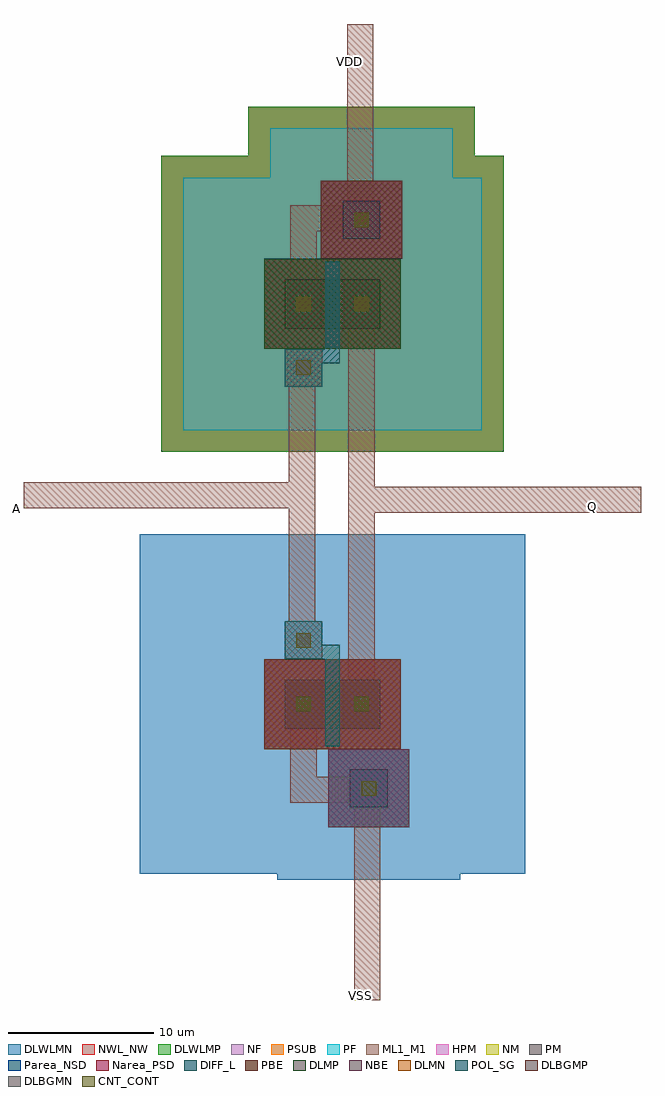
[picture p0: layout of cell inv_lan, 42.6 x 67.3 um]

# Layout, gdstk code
import gdstk
lib = gdstk.Library(unit=1e-6, precision=1e-07)
def R(c, l, rs):  # rectangles x0, y0, x1, y1
    for r in rs: c.add(gdstk.rectangle(r[:2], r[2:], *l))
def P(c, l, *ps):  # polygons
    for p in ps: c.add(gdstk.Polygon(p, *l))
DIFF_L = (3, 0)
NM = (7, 0)
POL_SG = (8, 0)
Narea_PSD = (9, 0)
CNT_CONT = (11, 0)
ML1_M1 = (13, 0)
NF = (25, 0)
PF = (26, 0)
Parea_NSD = (28, 0)
HPM = (33, 0)
PM = (35, 0)
NWL_NW = (36, 0)
PSUB = (140, 0)
PBE = (146, 0)
NBE = (147, 0)
DLWLMP = (150, 0)
DLWLMN = (151, 0)
DLMP = (157, 0)
DLMN = (158, 0)
DLBGMP = (177, 0)
DLBGMN = (178, 0)

dcont = lib.new_cell('dcont')
R(dcont, DIFF_L, [(-1.3,-1.3,1.3,1.3)])
R(dcont, CNT_CONT, [(-0.5,-0.5,0.5,0.5)])
R(dcont, ML1_M1, [(-1.3,-1.3,1.3,1.3), (-0.5,-0.5,0.5,0.5)])

pcont = lib.new_cell('pcont')
R(pcont, POL_SG, [(-1.3,-1.3,1.3,1.3)])
R(pcont, CNT_CONT, [(-0.5,-0.5,0.5,0.5)])
R(pcont, ML1_M1, [(-1.3,-1.3,1.3,1.3), (-0.5,-0.5,0.5,0.5)])

c_dcont = lib.new_cell('DCONT')
R(c_dcont, DIFF_L, [(-1.3,-1.3,1.3,1.3)])
R(c_dcont, CNT_CONT, [(-0.5,-0.5,0.5,0.5)])
R(c_dcont, ML1_M1, [(-1.3,-1.3,1.3,1.3), (-0.5,-0.5,0.5,0.5)])

nsubcont = lib.new_cell('nsubcont')
R(nsubcont, NM, [(-2.8,-2.7,2.8,2.7)])
R(nsubcont, Narea_PSD, [(-2.8,-2.7,2.8,2.7)])
R(nsubcont, NF, [(-6.3,-6.3,6.3,6.3)])
R(nsubcont, PF, [(-6.3,-6.3,6.3,6.3)])
R(nsubcont, HPM, [(-2.8,-2.7,2.8,2.7)])
R(nsubcont, PM, [(-2.8,-2.7,2.8,2.7)])
R(nsubcont, NWL_NW, [(-7.8,-7.8,7.8,7.8)])
R(nsubcont, PSUB, [(-6.3,-6.3,6.3,6.3)])
R(nsubcont, DLWLMP, [(-7.8,-7.8,7.8,7.8)])
R(nsubcont, DLBGMP, [(-2.8,-2.7,2.8,2.7)])
nsubcont.add(gdstk.Reference(c_dcont, (0,0)))

mp_1 = lib.new_cell('MP$1')
R(mp_1, DIFF_L, [(0,3.6,6.6,7)])
R(mp_1, NM, [(-1.4,2.2,8,8.4)])
R(mp_1, NF, [(-7,-3.4,13.6,14)])
R(mp_1, PF, [(-7,-3.4,13.6,14)])
R(mp_1, Parea_NSD, [(-1.4,2.2,8,8.4)])
R(mp_1, HPM, [(-1.4,2.2,8,8.4)])
R(mp_1, NWL_NW, [(-8.5,-4.9,15.1,15.5)])
R(mp_1, PSUB, [(-7,-3.4,13.6,14)])
R(mp_1, PBE, [(-1.4,2.2,8,8.4)])
R(mp_1, DLWLMP, [(-8.5,-4.9,15.1,15.5)])
R(mp_1, DLMP, [(-1.4,2.2,8,8.4)])
mp_1.add(gdstk.FlexPath([(1.3,3.6),(1.3,7)], 2.6, ends="flush", simple_path=True, layer=13, datatype=0))  # ML1_M1
mp_1.add(gdstk.FlexPath([(5.3,3.6),(5.3,7)], 2.6, ends="flush", simple_path=True, layer=13, datatype=0))  # ML1_M1
mp_1.add(gdstk.FlexPath([(1.3,6),(1.3,9.3)], 1.8, ends="flush", simple_path=True, layer=13, datatype=0))  # ML1_M1
mp_1.add(gdstk.FlexPath([(5.3,1.3),(5.3,4.6)], 1.8, ends="flush", simple_path=True, layer=13, datatype=0))  # ML1_M1
mp_1.add(gdstk.FlexPath([(3.3,3.6),(3.3,7)], 1, ends=(1.2, 1.2), simple_path=True, layer=8, datatype=0))  # POL_SG
mp_1.add(gdstk.FlexPath([(1.3,1.7),(3.3,1.7),(3.3,2.4)], 1, ends="flush", simple_path=True, layer=8, datatype=0))  # POL_SG
mp_1.add(gdstk.Reference(dcont, (1.3,5.3)))
mp_1.add(gdstk.Reference(dcont, (5.3,5.3)))
mp_1.add(gdstk.Reference(pcont, (1.3,0.9)))
mp_1.add(gdstk.Reference(nsubcont, (5.3,11.1)))

psubcont = lib.new_cell('psubcont')
R(psubcont, NM, [(-2.8,-2.7,2.8,2.7)])
R(psubcont, Parea_NSD, [(-2.8,-2.7,2.8,2.7)])
R(psubcont, HPM, [(-2.8,-2.7,2.8,2.7)])
R(psubcont, PM, [(-2.8,-2.7,2.8,2.7)])
R(psubcont, DLWLMN, [(-6.3,-6.3,6.3,6.3)])
R(psubcont, DLBGMN, [(-2.8,-2.7,2.8,2.7)])
psubcont.add(gdstk.Reference(c_dcont, (0,0)))

mn_1 = lib.new_cell('MN$1')
R(mn_1, DIFF_L, [(0,3.6,6.6,7)])
R(mn_1, Narea_PSD, [(-1.4,2.2,8,8.4)])
R(mn_1, HPM, [(-1.4,2.2,8,8.4)])
R(mn_1, PM, [(-1.4,2.2,8,8.4)])
R(mn_1, NBE, [(-1.4,2.2,8,8.4)])
R(mn_1, DLWLMN, [(-10,-6.4,16.6,17)])
R(mn_1, DLMN, [(-1.4,2.2,8,8.4)])
mn_1.add(gdstk.FlexPath([(1.3,3.6),(1.3,7)], 2.6, ends="flush", simple_path=True, layer=13, datatype=0))  # ML1_M1
mn_1.add(gdstk.FlexPath([(5.3,3.6),(5.3,7)], 2.6, ends="flush", simple_path=True, layer=13, datatype=0))  # ML1_M1
mn_1.add(gdstk.FlexPath([(1.3,1.3),(1.3,4.6)], 1.8, ends="flush", simple_path=True, layer=13, datatype=0))  # ML1_M1
mn_1.add(gdstk.FlexPath([(5.3,6),(5.3,9.3)], 1.8, ends="flush", simple_path=True, layer=13, datatype=0))  # ML1_M1
mn_1.add(gdstk.FlexPath([(3.3,3.6),(3.3,7)], 1, ends=(1.2, 1.2), simple_path=True, layer=8, datatype=0))  # POL_SG
mn_1.add(gdstk.FlexPath([(1.3,8.9),(3.3,8.9),(3.3,8.2)], 1, ends="flush", simple_path=True, layer=8, datatype=0))  # POL_SG
mn_1.add(gdstk.Reference(dcont, (1.3,5.3)))
mn_1.add(gdstk.Reference(dcont, (5.3,5.3)))
mn_1.add(gdstk.Reference(pcont, (1.3,9.7)))
mn_1.add(gdstk.Reference(psubcont, (5.8,-0.5)))

inv_lan = lib.new_cell('inv_lan')
P(inv_lan, POL_SG, [(5.7,-1.9),(5.7,-1.9),(5.7,-1.9),(5.7,-1.9)],
  [(7.5,2.8),(7.5,2.8),(7.5,2.8),(7.5,2.8)],
  [(3,4.7),(3,4.7),(3,4.7),(3,4.7)])
inv_lan.add(gdstk.FlexPath([(15.2,1.8),(15.2,-16.8),(16.1,-16.8)], 1.8, ends="flush", simple_path=True, layer=13, datatype=0))  # ML1_M1
inv_lan.add(gdstk.FlexPath([(15.3,9.4),(15.3,12.1),(19.4,12.1),(19.4,12.1)], 1.8, ends="flush", simple_path=True, layer=13, datatype=0))  # ML1_M1
inv_lan.add(gdstk.FlexPath([(15.3,-25),(15.3,-27.3),(19.7,-27.3),(19.7,-28.2)], 1.8, ends="flush", simple_path=True, layer=13, datatype=0))  # ML1_M1
inv_lan.add(gdstk.FlexPath([(15.4,-7),(-4,-7)], 1.8, ends="flush", simple_path=True, layer=13, datatype=0))  # ML1_M1
inv_lan.add(gdstk.FlexPath([(19.2,-7.3),(38.6,-7.3)], 1.8, ends="flush", simple_path=True, layer=13, datatype=0))  # ML1_M1
inv_lan.add(gdstk.FlexPath([(19.2,12.1),(19.2,25.5)], 1.8, ends="flush", simple_path=True, layer=13, datatype=0))  # ML1_M1
inv_lan.add(gdstk.FlexPath([(19.7,-27.3),(19.7,-41.8)], 1.8, ends="flush", simple_path=True, layer=13, datatype=0))  # ML1_M1
inv_lan.add(gdstk.FlexPath([(19.3,2.6),(19.3,-18.4)], 1.8, ends="flush", simple_path=True, layer=13, datatype=0))  # ML1_M1
inv_lan.add(gdstk.Reference(mp_1, (14,0.9)))
inv_lan.add(gdstk.Reference(mn_1, (14,-26.7)))
inv_lan.add(gdstk.Label('A', (-4.5,-7.9), layer=13, texttype=0))
inv_lan.add(gdstk.Label('VDD', (18.5,22.9), layer=13, texttype=0))
inv_lan.add(gdstk.Label('VSS', (19.2,-41.5), layer=13, texttype=0))
inv_lan.add(gdstk.Label('Q', (35.2,-7.8), layer=13, texttype=0))

lib.write_gds('inv_lan.gds')
